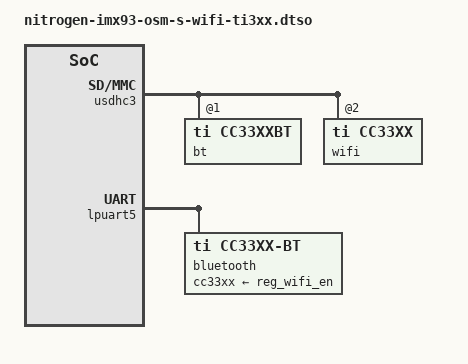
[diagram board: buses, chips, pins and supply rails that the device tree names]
// SPDX-License-Identifier: (GPL-2.0+ OR MIT)
/*
 * On-SOM SDIO TI CC33xx Wi-Fi/BT
 *
 * Copyright 2026 Ezurio LLC
 */

/dts-v1/;
/plugin/;

#include <dt-bindings/gpio/gpio.h>

&reg_wifi_en {
	startup-delay-us = <10000>;
	off-on-delay-us = <100>;
};

&usdhc3 { /* On-SOM Wi-Fi */
	status = "okay";

	cap-power-off-card;

	#address-cells = <1>;
	#size-cells = <0>;

	bt@1 {
		reg = <1>;
		compatible = "ti,cc33xxbt";
	};

	wifi@2 {
		reg = <2>;
		compatible = "ti,cc33xx";
	};
};

&lpuart5 { /* On-SOM BT HCI */
	status = "okay";

	bluetooth {
		compatible = "ti,cc33xx-bt";
		cc33xx-supply = <&reg_wifi_en>;
		max-speed = <115200>;
	};
};
